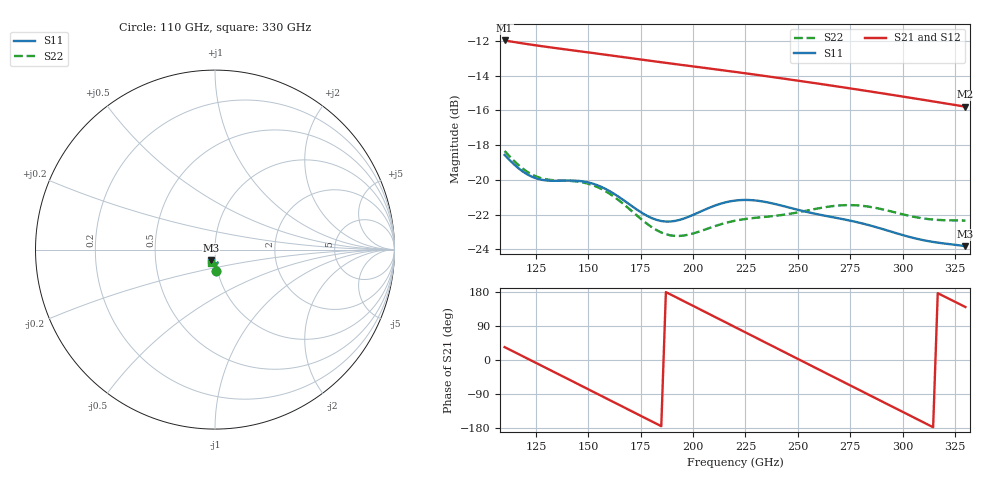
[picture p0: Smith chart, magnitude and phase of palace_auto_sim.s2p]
#  GHZ S DB R 50
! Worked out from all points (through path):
!   101 points, 110 GHz to 330 GHz, reference 50 ohm
!   highest |S21| = -11.98 dB at 110 GHz (marker M1); lowest = -15.8 dB at 330 GHz (marker M2)
!   group delay of S21, straight-line fit = 7.76 ps
!   lowest |S11| = -23.8 dB at 330 GHz (marker M3), VSWR 1.14, Z = 47.5 - j5.79 ohm
!   |S11| at or under -10 dB: start of sweep to end of sweep
!   |S22| runs from -23.2 to -18.3 dB; largest |S21 - S12| = 2.4e-13
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110  -18.57 -87.7  -11.98 34.0  -11.98 34.0  -18.34 -87.5
118.8  -19.53 -86.0  -12.15 9.6  -12.15 9.6  -19.37 -86.2
127.6  -20.00 -83.3  -12.31 -14.9  -12.31 -14.9  -19.91 -83.6
138.6  -20.04 -82.4  -12.49 -45.6  -12.49 -45.6  -20.05 -82.7
147.4  -20.09 -84.4  -12.63 -70.1  -12.63 -70.1  -20.15 -84.7
156.2  -20.41 -87.5  -12.77 -94.7  -12.77 -94.7  -20.53 -87.9
165  -21.02 -89.8  -12.91 -119.4  -12.91 -119.4  -21.23 -90.6
176  -21.93 -89.4  -13.09 -150.1  -13.09 -150.1  -22.34 -90.5
184.8  -22.37 -86.3  -13.24 -174.7  -13.24 -174.7  -23.03 -87.2
193.6  -22.30 -83.0  -13.37 160.7  -13.37 160.7  -23.23 -82.8
204.6  -21.77 -82.0  -13.55 130.0  -13.55 130.0  -22.91 -79.3
220  -21.19 -86.7  -13.79 86.9  -13.79 86.9  -22.36 -79.8
228.8  -21.18 -90.5  -13.93 62.2  -13.93 62.2  -22.20 -81.1
239.8  -21.41 -94.7  -14.12 31.4  -14.12 31.4  -22.06 -82.6
248.6  -21.68 -97.1  -14.27 6.8  -14.27 6.8  -21.90 -83.9
257.4  -21.93 -99.0  -14.42 -17.8  -14.42 -17.8  -21.70 -85.7
268.4  -22.19 -101.2  -14.62 -48.5  -14.62 -48.5  -21.49 -89.2
277.2  -22.41 -103.1  -14.78 -73.1  -14.78 -73.1  -21.46 -92.7
286  -22.68 -105.0  -14.94 -97.7  -14.94 -97.7  -21.59 -96.1
294.8  -22.99 -106.4  -15.11 -122.2  -15.11 -122.2  -21.83 -98.8
312.4  -23.53 -107.8  -15.45 -171.3  -15.45 -171.3  -22.26 -102.0
330  -23.82 -109.8  -15.79 139.7  -15.79 139.7  -22.34 -105.3
